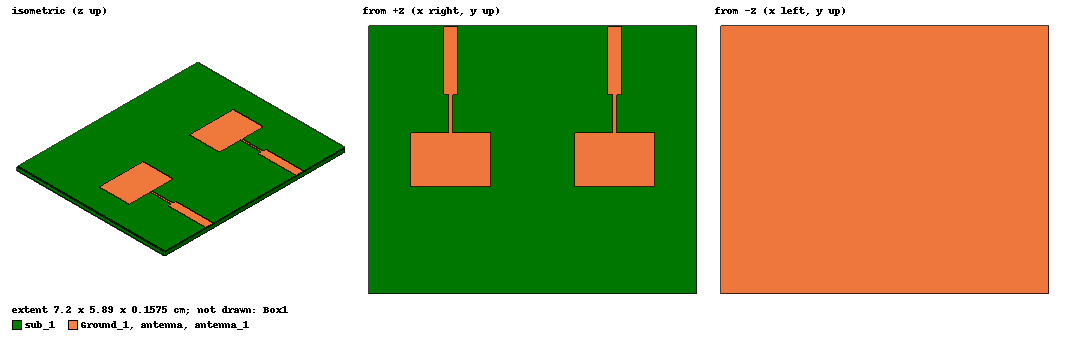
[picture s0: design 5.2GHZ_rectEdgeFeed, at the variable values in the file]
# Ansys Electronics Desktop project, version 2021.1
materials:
  vacuum: permittivity=1
  Duroid (tm): permittivity=2.2 dielectric_loss_tangent=0.0009
  FR4_epoxy: permittivity=4.4 dielectric_loss_tangent=0.02
  air: permittivity=1.0006 permeability=1.0000004

design Circuit1 (Circuit)
options: SParamCircuitDef IntegrationMethod=FFT
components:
  A8 = PWCMB2_NX()
  A9 = GAIN_NX(GAIN=2 PG=180deg)
  A10 = GAIN_NX(GAIN=1.8)
  S13 = 5_2GHZ_rectEdgeFeed2()
  port Port1 rz=50ohm iz=0ohm EnableNoise=false noisetemp=16.85cel
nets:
  net_1: A8.1, A9.0
  net_2: A8.0, A10.0
  net_3: A10.1, S13.1
  net_4: A9.1, S13.0
  Port1: A8.2
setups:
  LinearFrequency: LinearFrequencyData(false, 0.1, false, "", false) SweepDefinition{Variable=Freq Data="LINC 2.6GHz 6.6GHz 401"}

design 5.2GHZ_rectEdgeFeed (HFSS, DrivenTerminal, model units cm)
options: Allow_Material_Override Save_Adaptive_support_files
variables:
  # --Antenna Dimensions
  patchX = 1.755cm
  patchY = 1.197cm
  # --Substrate Dimensions
  subH = 0.1575cm
  subX = 3.6cm
  subY = 5.89cm
  # --Feed Dimensions
  EdgeFeedWidth = 0.072cm
  EdgeFeedLength = 0.829cm
  FeedWidth = 0.306cm
  FeedLength = 1.5cm
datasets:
  term_port1_T1_mag: (2600000000, 0.28709227) (2610000000, 0.28056841) (2620000000, 0.27403571) (2630000000, 0.26749467) (2640000000, 0.2609458) (2650000000, 0.25438958) (2660000000, 0.24782652) (2670000000, 0.24125711) (2680000000, 0.23468184) (2690000000, 0.22810119) (2700000000, 0.22151568) (2710000000, 0.21492579) (2720000000, 0.20833205) (2730000000, 0.20173496) (2740000000, 0.19513506) (2750000000, 0.1885329) (2760000000, 0.18192905) (2770000000, 0.17532412) (2780000000, 0.16871874) (2790000000, 0.16211359) (2800000000, 0.15550941) (2810000000, 0.14890699) (2820000000, 0.14230723) (2830000000, 0.13571113) (2840000000, 0.12911981) (2850000000, 0.12253457) (2860000000, 0.11595696) (2870000000, 0.10938879) (2880000000, 0.10283226) (2890000000, 0.096290102) (2900000000, 0.089765734) (2910000000, 0.08326355) (2920000000, 0.076789319) (2930000000, 0.070350798) (2940000000, 0.063958703) (2950000000, 0.057628281) (2960000000, 0.051381965) (2970000000, 0.045254026) (2980000000, 0.039299044) (2990000000, 0.0336079) (3000000000, 0.02833835) (3010000000, 0.023770187) (3020000000, 0.020377684) (3030000000, 0.018804607) (3040000000, 0.019492684) (3050000000, 0.022229357) (3060000000, 0.026381408) (3070000000, 0.03138919) (3080000000, 0.036903281) (3090000000, 0.042725617) (3100000000, 0.048743548) (3110000000, 0.054890602) (3120000000, 0.061125769) (3130000000, 0.067422635) (3140000000, 0.073763506) (3150000000, 0.080136111) (3160000000, 0.086531669) (3170000000, 0.09294372) (3180000000, 0.099367395) (3190000000, 0.10579893) (3200000000, 0.11223538) (3210000000, 0.11867435) (3220000000, 0.1251139) (3230000000, 0.13155242) (3240000000, 0.13798853) (3250000000, 0.14442106) (3260000000, 0.150849) (3270000000, 0.15727144) (3280000000, 0.16368756) (3290000000, 0.17009666) (3300000000, 0.17649805) (3310000000, 0.18289112) (3320000000, 0.18927529) (3330000000, 0.19565003) (3340000000, 0.20201482) (3350000000, 0.20836917) (3360000000, 0.21471261) (3370000000, 0.22104468) (3380000000, 0.22736494) (3390000000, 0.23367296) (3400000000, 0.2399683) (3410000000, 0.24625056) (3420000000, 0.25251932) (3430000000, 0.25877417) (3440000000, 0.26501471) (3450000000, 0.27124052) (3460000000, 0.27745121) (3470000000, 0.28364637) (3480000000, 0.28982559) (3490000000, 0.29598849) (3500000000, 0.30213464) (3510000000, 0.30826364) (3520000000, 0.31437509) (3530000000, 0.32046856) (3540000000, 0.32654365) (3550000000, 0.33259993) (3560000000, 0.33863699) (3570000000, 0.34465439) (3580000000, 0.35065171) (3590000000, 0.3566285) (3600000000, 0.36258435) (3610000000, 0.36851879) (3620000000, 0.37443138) (3630000000, 0.38032167) (3640000000, 0.3861892) (3650000000, 0.3920335) (3660000000, 0.3978541) (3670000000, 0.40365053) (3680000000, 0.40942231) (3690000000, 0.41516894) (3700000000, 0.42088994) (3710000000, 0.4265848) (3720000000, 0.43225302) (3730000000, 0.43789408) (3740000000, 0.44350746) (3750000000, 0.44909264) (3760000000, 0.45464908) (3770000000, 0.46017624) (3780000000, 0.46567357) (3790000000, 0.47114052)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
  term_port1_T1_phs: (2600000000, 0.44247573) (2610000000, 0.43499045) (2620000000, 0.42759922) (2630000000, 0.42030721) (2640000000, 0.41312012) (2650000000, 0.40604431) (2660000000, 0.39908685) (2670000000, 0.39225562) (2680000000, 0.38555944) (2690000000, 0.37900817) (2700000000, 0.37261291) (2710000000, 0.36638618) (2720000000, 0.3603421) (2730000000, 0.35449671) (2740000000, 0.34886826) (2750000000, 0.34347761) (2760000000, 0.33834867) (2770000000, 0.33350902) (2780000000, 0.32899057) (2790000000, 0.32483047) (2800000000, 0.32107219) (2810000000, 0.31776691) (2820000000, 0.31497526) (2830000000, 0.31276963) (2840000000, 0.31123705) (2850000000, 0.31048309) (2860000000, 0.31063698) (2870000000, 0.31185854) (2880000000, 0.31434763) (2890000000, 0.31835735) (2900000000, 0.32421265) (2910000000, 0.33233723) (2920000000, 0.34329315) (2930000000, 0.35784056) (2940000000, 0.37703003) (2950000000, 0.40234907) (2960000000, 0.43596079) (2970000000, 0.48110209) (2980000000, 0.54275619) (2990000000, 0.62876738) (3000000000, 0.7514779) (3010000000, 0.92896191) (3020000000, 1.1804155) (3030000000, 1.5026542) (3040000000, 1.8403185) (3050000000, 2.1227479) (3060000000, 2.327668) (3070000000, 2.4696285) (3080000000, 2.5684138) (3090000000, 2.6386052) (3100000000, 2.6896105) (3110000000, 2.7273813) (3120000000, 2.755745) (3130000000, 2.7772299) (3140000000, 2.7935555) (3150000000, 2.8059238) (3160000000, 2.8151964) (3170000000, 2.8220053) (3180000000, 2.8268233) (3190000000, 2.8300107) (3200000000, 2.8318465) (3210000000, 2.8325498) (3220000000, 2.8322951) (3230000000, 2.8312228) (3240000000, 2.8294472) (3250000000, 2.8270623) (3260000000, 2.8241458) (3270000000, 2.8207629) (3280000000, 2.8169683) (3290000000, 2.8128085) (3300000000, 2.8083229) (3310000000, 2.8035457) (3320000000, 2.798506) (3330000000, 2.7932293) (3340000000, 2.7877376) (3350000000, 2.7820503) (3360000000, 2.7761843) (3370000000, 2.7701546) (3380000000, 2.7639745) (3390000000, 2.7576556) (3400000000, 2.7512084) (3410000000, 2.7446422) (3420000000, 2.7379654) (3430000000, 2.7311854) (3440000000, 2.724309) (3450000000, 2.7173422) (3460000000, 2.7102905) (3470000000, 2.7031589) (3480000000, 2.6959518) (3490000000, 2.6886735) (3500000000, 2.6813274) (3510000000, 2.6739172) (3520000000, 2.6664457) (3530000000, 2.6589159) (3540000000, 2.6513304) (3550000000, 2.6436914) (3560000000, 2.6360012) (3570000000, 2.6282617) (3580000000, 2.6204747) (3590000000, 2.612642) (3600000000, 2.604765) (3610000000, 2.5968452) (3620000000, 2.5888838) (3630000000, 2.5808821) (3640000000, 2.5728411) (3650000000, 2.5647619) (3660000000, 2.5566453) (3670000000, 2.5484923) (3680000000, 2.5403035) (3690000000, 2.5320798) (3700000000, 2.5238218) (3710000000, 2.5155301) (3720000000, 2.5072052) (3730000000, 2.4988477) (3740000000, 2.4904579) (3750000000, 2.4820364) (3760000000, 2.4735835) (3770000000, 2.4650995) (3780000000, 2.4565848) (3790000000, 2.4480396)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
  term_port1_T2_mag: (2600000000, 0.30484834) (2610000000, 0.29755409) (2620000000, 0.29025022) (2630000000, 0.28293736) (2640000000, 0.27561615) (2650000000, 0.26828722) (2660000000, 0.2609512) (2670000000, 0.25360873) (2680000000, 0.24626044) (2690000000, 0.23890696) (2700000000, 0.23154895) (2710000000, 0.22418707) (2720000000, 0.21682198) (2730000000, 0.20945437) (2740000000, 0.20208497) (2750000000, 0.19471451) (2760000000, 0.18734378) (2770000000, 0.17997361) (2780000000, 0.1726049) (2790000000, 0.16523861) (2800000000, 0.1578758) (2810000000, 0.15051766) (2820000000, 0.14316552) (2830000000, 0.1358209) (2840000000, 0.1284856) (2850000000, 0.1211617) (2860000000, 0.11385177) (2870000000, 0.10655891) (2880000000, 0.09928706) (2890000000, 0.09204123) (2900000000, 0.084828006) (2910000000, 0.077656244) (2920000000, 0.070538181) (2930000000, 0.06349126) (2940000000, 0.056541205) (2950000000, 0.049727434) (2960000000, 0.04311298) (2970000000, 0.036803275) (2980000000, 0.030982142) (2990000000, 0.025976239) (3000000000, 0.022335558) (3010000000, 0.020784388) (3020000000, 0.021768051) (3030000000, 0.02498344) (3040000000, 0.029709731) (3050000000, 0.035341499) (3060000000, 0.041507834) (3070000000, 0.047999515) (3080000000, 0.05469746) (3090000000, 0.061531203) (3100000000, 0.068457131) (3110000000, 0.075447055) (3120000000, 0.082482032) (3130000000, 0.089548879) (3140000000, 0.096638136) (3150000000, 0.10374282) (3160000000, 0.11085765) (3170000000, 0.11797855) (3180000000, 0.12510227) (3190000000, 0.13222622) (3200000000, 0.13934826) (3210000000, 0.14646662) (3220000000, 0.15357977) (3230000000, 0.16068643) (3240000000, 0.16778545) (3250000000, 0.17487583) (3260000000, 0.18195667) (3270000000, 0.18902715) (3280000000, 0.19608654) (3290000000, 0.20313414) (3300000000, 0.2101693) (3310000000, 0.21719142) (3320000000, 0.22419992) (3330000000, 0.23119425) (3340000000, 0.23817389) (3350000000, 0.24513832) (3360000000, 0.25208705) (3370000000, 0.2590196) (3380000000, 0.2659355) (3390000000, 0.27283427) (3400000000, 0.27971547) (3410000000, 0.28657864) (3420000000, 0.29342334) (3430000000, 0.30024912) (3440000000, 0.30705554) (3450000000, 0.31384216) (3460000000, 0.32060854) (3470000000, 0.32735424) (3480000000, 0.33407883) (3490000000, 0.34078186) (3500000000, 0.3474629) (3510000000, 0.3541215) (3520000000, 0.36075723) (3530000000, 0.36736963) (3540000000, 0.37395826) (3550000000, 0.38052267) (3560000000, 0.38706241) (3570000000, 0.39357702) (3580000000, 0.40006605) (3590000000, 0.40652903) (3600000000, 0.41296549) (3610000000, 0.41937497) (3620000000, 0.425757) (3630000000, 0.43211109) (3640000000, 0.43843677) (3650000000, 0.44473355) (3660000000, 0.45100094) (3670000000, 0.45723845) (3680000000, 0.46344559) (3690000000, 0.46962183) (3700000000, 0.47576669) (3710000000, 0.48187964) (3720000000, 0.48796017) (3730000000, 0.49400775) (3740000000, 0.50002186) (3750000000, 0.50600196) (3760000000, 0.51194752) (3770000000, 0.51785799) (3780000000, 0.52373282) (3790000000, 0.52957146)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
  term_port1_T2_phs: (2600000000, -2.7084648) (2610000000, -2.7159403) (2620000000, -2.72331) (2630000000, -2.7305673) (2640000000, -2.7377053) (2650000000, -2.7447158) (2660000000, -2.7515899) (2670000000, -2.7583177) (2680000000, -2.7648879) (2690000000, -2.771288) (2700000000, -2.7775035) (2710000000, -2.7835184) (2720000000, -2.7893141) (2730000000, -2.7948696) (2740000000, -2.8001608) (2750000000, -2.8051598) (2760000000, -2.8098344) (2770000000, -2.814147) (2780000000, -2.8180536) (2790000000, -2.8215025) (2800000000, -2.8244323) (2810000000, -2.8267698) (2820000000, -2.8284268) (2830000000, -2.8292961) (2840000000, -2.8292467) (2850000000, -2.8281163) (2860000000, -2.8257016) (2870000000, -2.8217449) (2880000000, -2.815915) (2890000000, -2.8077792) (2900000000, -2.7967628) (2910000000, -2.7820866) (2920000000, -2.7626715) (2930000000, -2.7369856) (2940000000, -2.7027945) (2950000000, -2.6567442) (2960000000, -2.5936533) (2970000000, -2.5053437) (2980000000, -2.3789458) (2990000000, -2.1957886) (3000000000, -1.9370192) (3010000000, -1.6093683) (3020000000, -1.2728783) (3030000000, -0.9964513) (3040000000, -0.79773581) (3050000000, -0.66044914) (3060000000, -0.56491161) (3070000000, -0.49697549) (3080000000, -0.44757692) (3090000000, -0.41098815) (3100000000, -0.38352248) (3110000000, -0.36274008) (3120000000, -0.34697863) (3130000000, -0.33507391) (3140000000, -0.32618984) (3150000000, -0.31971233) (3160000000, -0.31518115) (3170000000, -0.31224519) (3180000000, -0.31063226) (3190000000, -0.31012828) (3200000000, -0.31056271) (3210000000, -0.31179809) (3220000000, -0.31372247) (3230000000, -0.31624379) (3240000000, -0.31928568) (3250000000, -0.32278426) (3260000000, -0.32668575) (3270000000, -0.33094453) (3280000000, -0.33552165) (3290000000, -0.34038371) (3300000000, -0.34550187) (3310000000, -0.35085114) (3320000000, -0.35640973) (3330000000, -0.36215858) (3340000000, -0.36808096) (3350000000, -0.3741621) (3360000000, -0.38038895) (3370000000, -0.38674991) (3380000000, -0.39323465) (3390000000, -0.39983396) (3400000000, -0.40653958) (3410000000, -0.41334409) (3420000000, -0.42024083) (3430000000, -0.42722377) (3440000000, -0.43428748) (3450000000, -0.44142702) (3460000000, -0.44863793) (3470000000, -0.45591614) (3480000000, -0.46325796) (3490000000, -0.47065999) (3500000000, -0.47811918) (3510000000, -0.48563268) (3520000000, -0.49319793) (3530000000, -0.50081256) (3540000000, -0.50847439) (3550000000, -0.51618143) (3560000000, -0.52393185) (3570000000, -0.53172396) (3580000000, -0.5395562) (3590000000, -0.54742714) (3600000000, -0.55533547) (3610000000, -0.56327995) (3620000000, -0.57125948) (3630000000, -0.57927301) (3640000000, -0.58731958) (3650000000, -0.59539832) (3660000000, -0.6035084) (3670000000, -0.61164907) (3680000000, -0.61981964) (3690000000, -0.62801947) (3700000000, -0.63624797) (3710000000, -0.64450458) (3720000000, -0.65278882) (3730000000, -0.66110023) (3740000000, -0.66943838) (3750000000, -0.67780288) (3760000000, -0.68619338) (3770000000, -0.69460957) (3780000000, -0.70305115) (3790000000, -0.71151785)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
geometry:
  sub = box(corner=(-subX/2, -subY/2, 0cm), size=(subX, subY, subH))
  Ground = rectangle(corner=(-subX/2, -subY/2, 0cm), x_size=subX, y_size=subY)
  antenna = rectangle(corner=(-patchX/2, -patchY/2, subH), x_size=patchX, y_size=patchY)
  NewObject_52JPH7 = rectangle(corner=(-EdgeFeedWidth/2, 0cm, subH), x_size=EdgeFeedWidth, y_size=patchY/2+EdgeFeedLength)
  NewObject_9SDIL5 = rectangle(corner=(-FeedWidth/2, patchY/2+EdgeFeedLength, subH), x_size=FeedWidth, y_size=FeedLength)
  antenna.unite(NewObject_52JPH7, NewObject_9SDIL5)
  port1 = rectangle(corner=(-FeedWidth/2, patchY/2+EdgeFeedLength+FeedLength, 0cm), z_size=subH, x_size=FeedWidth)
  Box1 [vacuum] = box(corner=(-3.7230769cm, -4.8680769cm, 2.0805769cm), size=(7.4461538cm, 9.7361538cm, -4.0805769cm))
  sub_1 [FR4_epoxy] = sub.duplicate_along_line(step=(-3.6cm, 0cm, 0cm), total=2)
  Box1_1 = Box1.duplicate_along_line(step=(-3.6cm, 0cm, 0cm), total=2)
  port1_1 = port1.duplicate_along_line(step=(-3.6cm, 0cm, 0cm), total=2)
  antenna_1 = antenna.duplicate_along_line(step=(-3.6cm, 0cm, 0cm), total=2)
  Ground_1 = Ground.duplicate_along_line(step=(-3.6cm, 0cm, 0cm), total=2)
  Box1.unite(Box1_1)
  Ground_1.unite(Ground)
  sub_1.unite(sub)
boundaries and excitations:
  antennaMetal: Perfect E Objects=antenna
  Rad1: Radiation Objects=Box1
  antennaMetal1: Perfect E Objects=antenna_1
  groundMetal1: Perfect E Objects=Ground_1
  port1_T1: Terminal port=1 Edges=port1.edge(z at corner) TerminalResistance=50ohm
  port1_T2: Terminal port=2 Edges=port1_1.edge(4 of 4) TerminalResistance=50ohm
  1: Lumped Port Faces=port1.face(at (0, 2.9275, 0.07875)) Impedance=50ohm
  2: Lumped Port Faces=port1_1.face Impedance=50ohm
  reference conductors: antenna
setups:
  Setup1: HfssDriven Frequency=5.2GHz MaxDeltaS=0.02 MaximumPasses=6 MinimumPasses=1 MinimumConvergedPasses=1 PercentRefinement=30 BasisOrder=-1 PortAccuracy=2
    sweep Sweep: 2.6GHz to 6.6GHz, 401 points; Type=Interpolating InterpTolerance=0.5 InterpMaxSolns=250 PassivityErrorTolerance=0.0001
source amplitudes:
  1:1: pwl(term_port1_T1_mag,Freq) pwl(term_port1_T1_phs,Freq)
  2:1: pwl(term_port1_T2_mag,Freq) pwl(term_port1_T2_phs,Freq)
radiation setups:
  Infinite Sphere1: Infinite Sphere Theta=0deg..180deg step 10deg Phi=0deg..360deg step 10deg
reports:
  Terminal S Parameter Plot 1: dB(St(port1_T1,port1_T1)) vs Freq on Setup1 : Sweep; markers m1 at 5.2GHz, m2 at 4.89GHz, m3 at 5.6GHz
  Gain Plot 2: dB(GainTotal) vs Phi, Theta on Setup1 : LastAdaptive, Infinite Sphere1 [Freq=5.2GHz]
